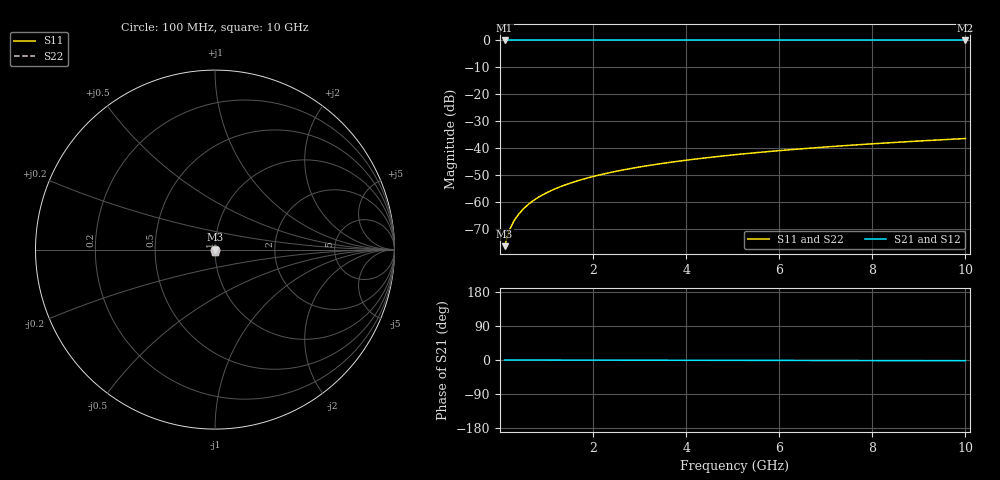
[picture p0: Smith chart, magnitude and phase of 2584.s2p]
# Hz S RI R 50.00
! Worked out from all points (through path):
!   100 points, 100 MHz to 10 GHz, reference 50 ohm
!   highest |S21| = 0.00 dB at 100 MHz (marker M1); lowest = 0.0 dB at 10 GHz (marker M2)
!   lowest |S11| = -76.2 dB at 100 MHz (marker M3), VSWR 1.00, Z = 50 - j0.0151 ohm
!   |S11| at or under -10 dB: start of sweep to end of sweep
!   |S22| runs from -76.2 to -36.3 dB; largest |S21 - S12| = 0
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1e8  3.62e-05 -0.000151  1 -0.000319  1 -0.000319  3.62e-05 -0.000151
2e8  3.61e-05 -0.000302  1 -0.000637  1 -0.000637  3.61e-05 -0.000302
3e8  3.58e-05 -0.000453  1 -0.000956  1 -0.000956  3.58e-05 -0.000453
4e8  3.54e-05 -0.000603  1 -0.00127  1 -0.00127  3.54e-05 -0.000603
5e8  3.49e-05 -0.000754  1 -0.00159  1 -0.00159  3.49e-05 -0.000754
6e8  3.42e-05 -0.000905  1 -0.00191  1 -0.00191  3.42e-05 -0.000905
7e8  3.35e-05 -0.00106  1 -0.00223  1 -0.00223  3.35e-05 -0.00106
8e8  3.26e-05 -0.00121  1 -0.00255  1 -0.00255  3.26e-05 -0.00121
9e8  3.17e-05 -0.00136  1 -0.00287  1 -0.00287  3.17e-05 -0.00136
1.1e9  2.95e-05 -0.00166  1 -0.00351  1 -0.00351  2.95e-05 -0.00166
1.4e9  2.54e-05 -0.00211  0.9999 -0.00446  0.9999 -0.00446  2.54e-05 -0.00211
1.8e9  1.86e-05 -0.00272  0.9999 -0.00574  0.9999 -0.00574  1.86e-05 -0.00272
2.1e9  1.24e-05 -0.00317  0.9999 -0.0067  0.9999 -0.0067  1.24e-05 -0.00317
2.5e9  2.88e-06 -0.00378  0.9999 -0.00798  0.9999 -0.00798  2.88e-06 -0.00378
2.9e9  -8.26e-06 -0.00439  0.9999 -0.00926  0.9999 -0.00926  -8.26e-06 -0.00439
3.4e9  -2.44e-05 -0.00515  0.9999 -0.0109  0.9999 -0.0109  -2.44e-05 -0.00515
4.2e9  -5.54e-05 -0.00636  0.9998 -0.0134  0.9998 -0.0134  -5.54e-05 -0.00636
5.1e9  -9.78e-05 -0.00774  0.9998 -0.0163  0.9998 -0.0163  -9.78e-05 -0.00774
5.9e9  -0.000142 -0.00896  0.9997 -0.0189  0.9997 -0.0189  -0.000142 -0.00896
6.7e9  -0.000193 -0.0102  0.9997 -0.0215  0.9997 -0.0215  -0.000193 -0.0102
8.4e9  -0.000323 -0.0128  0.9995 -0.027  0.9995 -0.027  -0.000323 -0.0128
1e10  -0.000472 -0.0153  0.9993 -0.0322  0.9993 -0.0322  -0.000472 -0.0153
